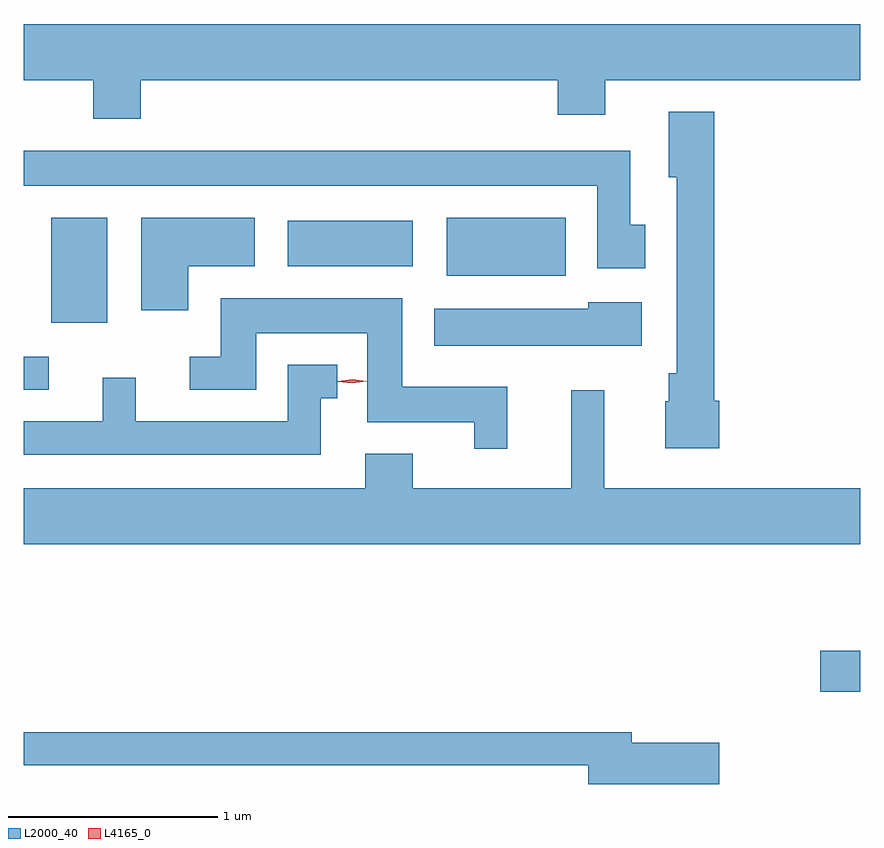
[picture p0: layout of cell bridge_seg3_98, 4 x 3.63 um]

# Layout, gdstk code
import gdstk
lib = gdstk.Library(unit=1e-6, precision=1e-09)
def R(c, l, rs):  # rectangles x0, y0, x1, y1
    for r in rs: c.add(gdstk.rectangle(r[:2], r[2:], *l))
def P(c, l, *ps):  # polygons
    for p in ps: c.add(gdstk.Polygon(p, *l))
L2000_40 = (2000, 40)
L4165_0 = (4165, 0)

bridge_seg3_98 = lib.new_cell('bridge_seg3_98')
R(bridge_seg3_98, L2000_40, [(1006.326,1216.331,1006.518,1216.529), (1002.518,1217.776,1002.638,1217.934), (1002.651,1218.096,1002.919,1218.599), (1004.541,1218.321,1005.109,1218.599), (1003.781,1218.366,1004.379,1218.584)])
P(bridge_seg3_98, L2000_40, [(1003.079,1219.256),(1005.071,1219.256),(1005.071,1219.091),(1005.299,1219.091),(1005.299,1219.256),(1006.518,1219.256),(1006.518,1219.524),(1002.518,1219.524),(1002.518,1219.256),(1002.851,1219.256),(1002.851,1219.071),(1003.079,1219.071)],
  [(1005.844,1217.724),(1005.819,1217.724),(1005.819,1219.104),(1005.601,1219.104),(1005.601,1218.791),(1005.641,1218.791),(1005.641,1217.854),(1005.601,1217.854),(1005.601,1217.72),(1005.586,1217.72),(1005.586,1217.496),(1005.844,1217.496)],
  [(1005.489,1218.564),(1005.419,1218.564),(1005.419,1218.919),(1002.518,1218.919),(1002.518,1218.751),(1005.261,1218.751),(1005.261,1218.356),(1005.489,1218.356)],
  [(1003.304,1218.366),(1003.624,1218.366),(1003.624,1218.599),(1003.081,1218.599),(1003.081,1218.156),(1003.304,1218.156)],
  [(1004.829,1217.789),(1004.329,1217.789),(1004.329,1218.214),(1003.461,1218.214),(1003.461,1217.934),(1003.313,1217.934),(1003.313,1217.776),(1003.629,1217.776),(1003.629,1218.046),(1004.161,1218.046),(1004.161,1217.621),(1004.671,1217.621),(1004.671,1217.493),(1004.829,1217.493)],
  [(1005.474,1218.194),(1005.216,1218.194),(1005.216,1218.164),(1004.481,1218.164),(1004.481,1217.986),(1005.474,1217.986)],
  [(1003.939,1217.736),(1004.018,1217.736),(1004.018,1217.894),(1003.781,1217.894),(1003.781,1217.624),(1003.054,1217.624),(1003.054,1217.833),(1002.896,1217.833),(1002.896,1217.624),(1002.518,1217.624),(1002.518,1217.466),(1003.939,1217.466)],
  [(1006.518,1217.304),(1005.294,1217.304),(1005.294,1217.773),(1005.136,1217.773),(1005.136,1217.304),(1004.379,1217.304),(1004.379,1217.469),(1004.151,1217.469),(1004.151,1217.304),(1002.518,1217.304),(1002.518,1217.036),(1006.518,1217.036)],
  [(1005.844,1216.089),(1005.424,1216.089),(1005.424,1216.139),(1002.518,1216.139),(1002.518,1215.981),(1005.216,1215.981),(1005.216,1215.891),(1005.844,1215.891)])
P(bridge_seg3_98, L4165_0, [(1004.088,1217.806),(1004.019,1217.815),(1004.019,1217.816),(1004.019,1217.816),(1004.088,1217.826),(1004.158,1217.817),(1004.158,1217.816),(1004.158,1217.816)])

lib.write_gds('bridge_seg3_98.gds')
